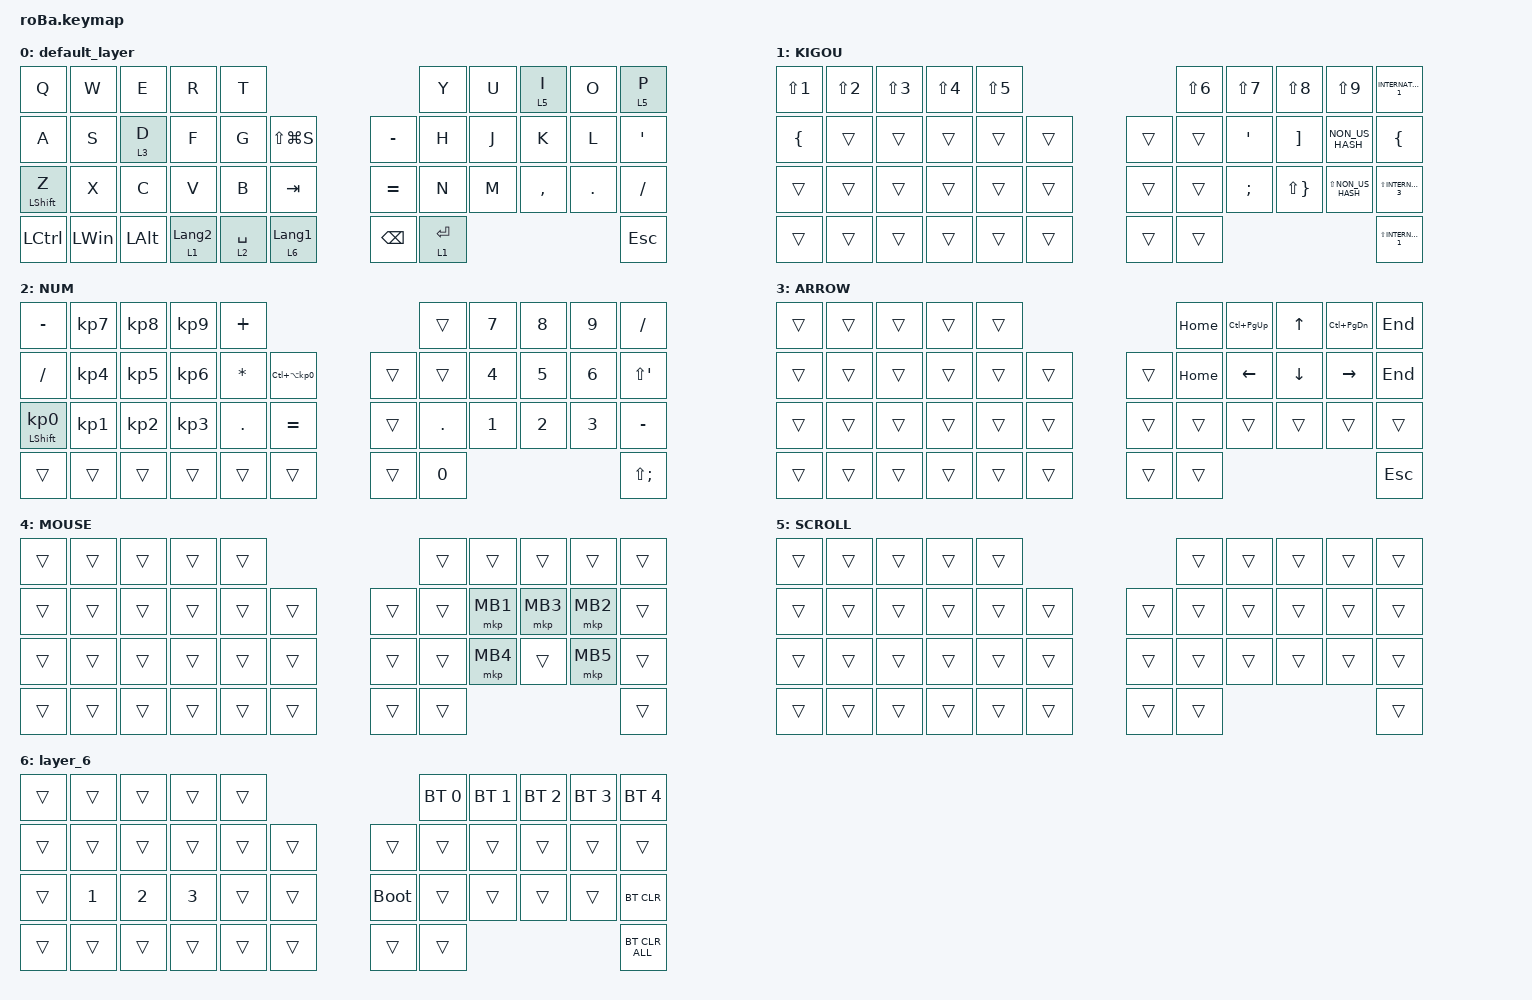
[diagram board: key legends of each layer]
#include <behaviors.dtsi>
#include <dt-bindings/zmk/bt.h>
#include <dt-bindings/zmk/keys.h>
#include <dt-bindings/zmk/pointing.h>

&mt {
    flavor = "balanced";
    quick-tap-ms = <0>;
};

&trackball {
    automouse-layer = <4>;
    scroll-layers = <5>;

    // arrows {
    //     layers = <3>;
    //     bindings =
    //         <&kp RIGHT_ARROW>,
    //         <&kp LEFT_ARROW>,
    //         <&kp UP_ARROW>,
    //         <&kp DOWN_ARROW>;
    //     tick = <10>;
    //     wait-ms = <5>;
    //     tap-ms = <5>;
    // };
};

/ {
    combos {
        compatible = "zmk,combos";

        tab {
            bindings = <&kp TAB>;
            key-positions = <11 12>;
        };

        shift_tab {
            bindings = <&kp LS(TAB)>;
            key-positions = <12 13>;
        };

        muhennkann {
            bindings = <&to_layer_0 INT_MUHENKAN>;
            key-positions = <11 10>;
        };

        double_quotation {
            bindings = <&kp DOUBLE_QUOTES>;
            key-positions = <20 21>;
        };

        eq {
            bindings = <&kp EQUAL>;
            key-positions = <24 25>;
        };
    };

    macros {
        to_layer_0: to_layer_0 {
            compatible = "zmk,behavior-macro-one-param";
            #binding-cells = <1>;
            bindings = <&to 0 &macro_param_1to1 &kp MACRO_PLACEHOLDER>;
            label = "TO_LAYER_0";
        };
    };

    behaviors {
        lt_to_layer_0: lt_to_layer_0 {
            compatible = "zmk,behavior-hold-tap";
            label = "LAYER_TAP_TO_0";
            bindings = <&mo>, <&to_layer_0>;

            #binding-cells = <2>;
            tapping-term-ms = <200>;
        };
    };

    keymap {
        compatible = "zmk,keymap";

        default_layer {
            bindings = <
&kp Q             &kp W         &kp E         &kp R                        &kp T                                                        &kp Y        &kp U  &lt 5 I    &kp O    &lt 5 P
&kp A             &kp S         &lt 3 D       &kp F                        &kp G        &kp LS(LG(S))                    &kp MINUS      &kp H        &kp J  &kp K      &kp L    &kp SQT
&mt LEFT_SHIFT Z  &kp X         &kp C         &kp V                        &kp B        &kp TAB                          &kp EQUAL      &kp N        &kp M  &kp COMMA  &kp DOT  &kp SLASH
&kp LCTRL         &kp LEFT_WIN  &kp LEFT_ALT  &lt_to_layer_0 1 LANGUAGE_2  &lt 2 SPACE  &lt_to_layer_0 6 LANGUAGE_1      &kp BACKSPACE  &lt 1 ENTER                             &kp ESCAPE
            >;
        };

        KIGOU {
            bindings = <
&kp LS(NUMBER_1)  &kp LS(NUMBER_2)  &kp LS(NUMBER_3)  &kp LS(NUMBER_4)  &kp LS(N5)                      &kp LS(NUMBER_6)  &kp LS(N7)  &kp LS(N8)           &kp LS(N9)           &kp INTERNATIONAL_1
&kp LEFT_BRACE    &trans            &trans            &trans            &trans      &trans      &trans  &trans            &kp APOS    &kp RIGHT_BRACKET    &kp NON_US_HASH      &kp LEFT_BRACE
&trans            &trans            &trans            &trans            &trans      &trans      &trans  &trans            &kp SEMI    &kp LS(RIGHT_BRACE)  &kp LS(NON_US_HASH)  &kp LS(INTERNATIONAL_3)
&trans            &trans            &trans            &trans            &trans      &trans      &trans  &trans                                                                  &kp LS(INTERNATIONAL_1)
            >;
        };

        NUM {
            bindings = <
&kp MINUS                   &kp KP_NUMBER_7  &kp KP_NUMBER_8  &kp KP_NUMBER_9  &kp PLUS                                           &trans        &kp N7        &kp N8        &kp N9        &kp SLASH
&kp SLASH                   &kp KP_NUMBER_4  &kp KP_NUMBER_5  &kp KP_NUMBER_6  &kp ASTERISK  &kp LC(LA(KP_NUMBER_0))      &trans  &trans        &kp NUMBER_4  &kp N5        &kp NUMBER_6  &kp LS(APOS)
&mt LEFT_SHIFT KP_NUMBER_0  &kp KP_NUMBER_1  &kp KP_NUMBER_2  &kp KP_NUMBER_3  &kp PERIOD    &kp EQUAL                    &trans  &kp PERIOD    &kp NUMBER_1  &kp NUMBER_2  &kp NUMBER_3  &kp MINUS
&trans                      &trans           &trans           &trans           &trans        &trans                       &trans  &kp NUMBER_0                                            &kp LS(SEMI)
            >;
        };

        ARROW {
            bindings = <
&trans  &trans  &trans  &trans  &trans                      &kp HOME  &kp LC(PAGE_UP)  &kp UP_ARROW    &kp LC(PAGE_DOWN)  &kp END
&trans  &trans  &trans  &trans  &trans  &trans      &trans  &kp HOME  &kp LEFT_ARROW   &kp DOWN_ARROW  &kp RIGHT_ARROW    &kp END
&trans  &trans  &trans  &trans  &trans  &trans      &trans  &trans    &trans           &trans          &trans             &trans
&trans  &trans  &trans  &trans  &trans  &trans      &trans  &trans                                                        &kp ESCAPE
            >;
        };

        MOUSE {
            bindings = <
&trans  &trans  &trans  &trans  &trans                      &trans  &trans    &trans    &trans    &trans
&trans  &trans  &trans  &trans  &trans  &trans      &trans  &trans  &mkp MB1  &mkp MB3  &mkp MB2  &trans
&trans  &trans  &trans  &trans  &trans  &trans      &trans  &trans  &mkp MB4  &trans    &mkp MB5  &trans
&trans  &trans  &trans  &trans  &trans  &trans      &trans  &trans                                &trans
            >;
        };

        SCROLL {
            bindings = <
&trans  &trans  &trans  &trans  &trans                      &trans  &trans  &trans  &trans  &trans
&trans  &trans  &trans  &trans  &trans  &trans      &trans  &trans  &trans  &trans  &trans  &trans
&trans  &trans  &trans  &trans  &trans  &trans      &trans  &trans  &trans  &trans  &trans  &trans
&trans  &trans  &trans  &trans  &trans  &trans      &trans  &trans                          &trans
            >;
        };

        layer_6 {
            bindings = <
&trans  &trans        &trans        &trans        &trans                           &bt BT_SEL 0  &bt BT_SEL 1  &bt BT_SEL 2  &bt BT_SEL 3  &bt BT_SEL 4
&trans  &trans        &trans        &trans        &trans  &trans      &trans       &trans        &trans        &trans        &trans        &trans
&trans  &kp NUMBER_1  &kp NUMBER_2  &kp NUMBER_3  &trans  &trans      &bootloader  &trans        &trans        &trans        &trans        &bt BT_CLR
&trans  &trans        &trans        &trans        &trans  &trans      &trans       &trans                                                  &bt BT_CLR_ALL
            >;
        };
    };
};
